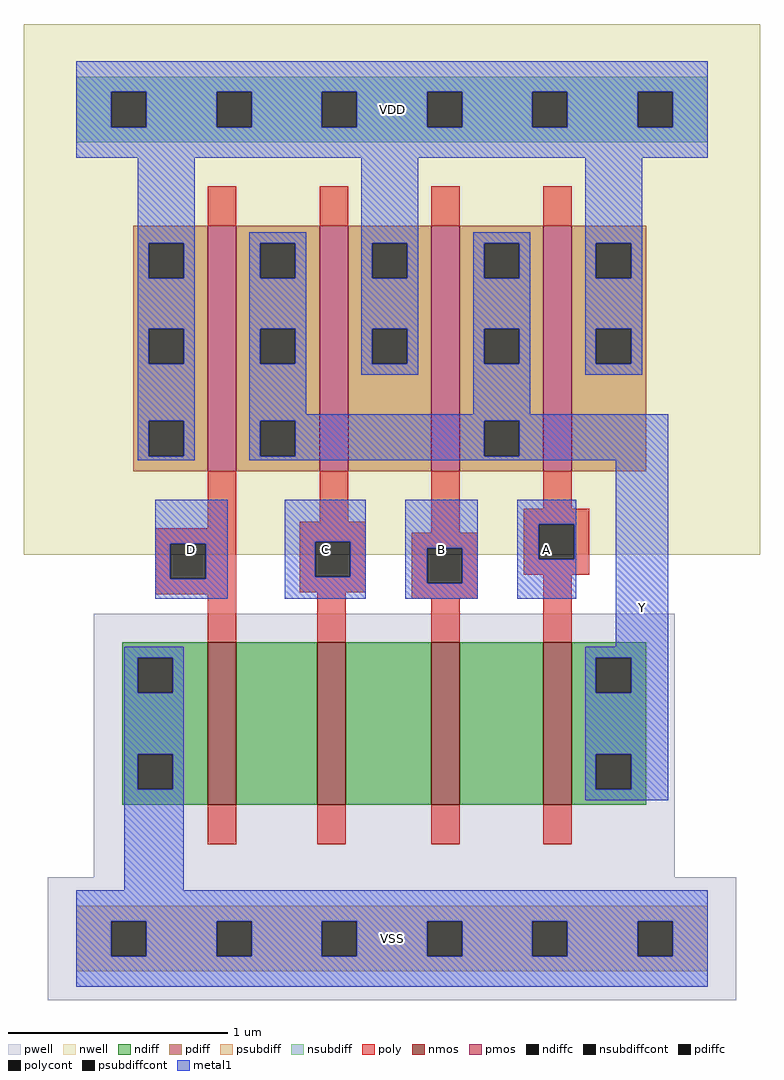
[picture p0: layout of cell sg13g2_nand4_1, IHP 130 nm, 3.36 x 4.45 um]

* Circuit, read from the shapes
.subckt sg13g2_nand4_1 VDD Y B C VSS A D
XM1 n1 D VSS VSS sg13_lv_nmos w=0.74u l=0.13u
XM2 n2 C n1 VSS sg13_lv_nmos w=0.74u l=0.13u
XM3 n3 B n2 VSS sg13_lv_nmos w=0.74u l=0.13u
XM4 Y A n3 VSS sg13_lv_nmos w=0.74u l=0.13u
XM5 Y D VDD VDD sg13_lv_pmos w=1.12u l=0.13u
XM6 VDD C Y VDD sg13_lv_pmos w=1.12u l=0.13u
XM7 Y B VDD VDD sg13_lv_pmos w=1.12u l=0.13u
XM8 VDD A Y VDD sg13_lv_pmos w=1.12u l=0.13u
.ends

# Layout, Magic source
magic
tech ihp-sg13g2
<< nwell >>
rect -24 175 312 417
<< pwell >>
rect 8 28 273 148
rect -13 -28 301 28
<< nmos >>
rect 60 61 73 135
rect 110 61 123 135
rect 162 61 175 135
rect 213 61 226 135
<< pmos >>
rect 60 213 73 325
rect 111 213 124 325
rect 162 213 175 325
rect 213 213 226 325
<< ndiff >>
rect 21 128 60 135
rect 21 112 28 128
rect 44 112 60 128
rect 21 84 60 112
rect 21 68 28 84
rect 44 68 60 84
rect 21 61 60 68
rect 73 61 110 135
rect 123 61 162 135
rect 175 61 213 135
rect 226 128 260 135
rect 226 112 237 128
rect 253 112 260 128
rect 226 84 260 112
rect 226 68 237 84
rect 253 68 260 84
rect 226 61 260 68
<< pdiff >>
rect 26 317 60 325
rect 26 301 33 317
rect 49 301 60 317
rect 26 278 60 301
rect 26 262 33 278
rect 49 262 60 278
rect 26 236 60 262
rect 26 220 33 236
rect 49 220 60 236
rect 26 213 60 220
rect 73 317 111 325
rect 73 301 84 317
rect 100 301 111 317
rect 73 278 111 301
rect 73 262 84 278
rect 100 262 111 278
rect 73 236 111 262
rect 73 220 84 236
rect 100 220 111 236
rect 73 213 111 220
rect 124 317 162 325
rect 124 301 135 317
rect 151 301 162 317
rect 124 278 162 301
rect 124 262 135 278
rect 151 262 162 278
rect 124 213 162 262
rect 175 317 213 325
rect 175 301 186 317
rect 202 301 213 317
rect 175 278 213 301
rect 175 262 186 278
rect 202 262 213 278
rect 175 236 213 262
rect 175 220 186 236
rect 202 220 213 236
rect 175 213 213 220
rect 226 317 260 325
rect 226 301 237 317
rect 253 301 260 317
rect 226 278 260 301
rect 226 262 237 278
rect 253 262 260 278
rect 226 213 260 262
<< ndiffc >>
rect 28 112 44 128
rect 28 68 44 84
rect 237 112 253 128
rect 237 68 253 84
<< pdiffc >>
rect 33 301 49 317
rect 33 262 49 278
rect 33 220 49 236
rect 84 301 100 317
rect 84 262 100 278
rect 84 220 100 236
rect 135 301 151 317
rect 135 262 151 278
rect 186 301 202 317
rect 186 262 202 278
rect 186 220 202 236
rect 237 301 253 317
rect 237 262 253 278
<< psubdiff >>
rect 0 8 288 15
rect 0 -8 16 8
rect 32 -8 64 8
rect 80 -8 112 8
rect 128 -8 160 8
rect 176 -8 208 8
rect 224 -8 256 8
rect 272 -8 288 8
rect 0 -15 288 -8
<< nsubdiff >>
rect 0 386 288 393
rect 0 370 16 386
rect 32 370 64 386
rect 80 370 112 386
rect 128 370 160 386
rect 176 370 208 386
rect 224 370 256 386
rect 272 370 288 386
rect 0 363 288 370
<< psubdiffcont >>
rect 16 -8 32 8
rect 64 -8 80 8
rect 112 -8 128 8
rect 160 -8 176 8
rect 208 -8 224 8
rect 256 -8 272 8
<< nsubdiffcont >>
rect 16 370 32 386
rect 64 370 80 386
rect 112 370 128 386
rect 160 370 176 386
rect 208 370 224 386
rect 256 370 272 386
<< poly >>
rect 60 325 73 343
rect 111 325 124 343
rect 162 325 175 343
rect 213 325 226 343
rect 60 187 73 213
rect 111 190 124 213
rect 36 180 73 187
rect 36 164 43 180
rect 59 164 73 180
rect 36 157 73 164
rect 102 181 132 190
rect 162 185 175 213
rect 213 196 226 213
rect 204 189 234 196
rect 102 165 109 181
rect 125 165 132 181
rect 102 158 132 165
rect 153 178 183 185
rect 153 162 160 178
rect 176 162 183 178
rect 204 173 211 189
rect 227 173 234 189
rect 204 166 234 173
rect 60 135 73 157
rect 110 135 123 158
rect 153 155 183 162
rect 162 135 175 155
rect 213 135 226 166
rect 60 43 73 61
rect 110 43 123 61
rect 162 43 175 61
rect 213 43 226 61
<< polycont >>
rect 43 164 59 180
rect 109 165 125 181
rect 160 162 176 178
rect 211 173 227 189
<< metal1 >>
rect 0 386 288 400
rect 0 370 16 386
rect 32 370 64 386
rect 80 370 112 386
rect 128 370 160 386
rect 176 370 208 386
rect 224 370 256 386
rect 272 370 288 386
rect 0 356 288 370
rect 28 317 54 356
rect 28 301 33 317
rect 49 301 54 317
rect 28 278 54 301
rect 28 262 33 278
rect 49 262 54 278
rect 28 236 54 262
rect 28 220 33 236
rect 49 220 54 236
rect 28 218 54 220
rect 79 317 105 322
rect 79 301 84 317
rect 100 301 105 317
rect 79 278 105 301
rect 79 262 84 278
rect 100 262 105 278
rect 79 239 105 262
rect 130 317 156 356
rect 130 301 135 317
rect 151 301 156 317
rect 130 278 156 301
rect 130 262 135 278
rect 151 262 156 278
rect 130 257 156 262
rect 181 317 207 322
rect 181 301 186 317
rect 202 301 207 317
rect 181 278 207 301
rect 181 262 186 278
rect 202 262 207 278
rect 181 239 207 262
rect 232 317 258 356
rect 232 301 237 317
rect 253 301 258 317
rect 232 278 258 301
rect 232 262 237 278
rect 253 262 258 278
rect 232 257 258 262
rect 79 236 270 239
rect 79 220 84 236
rect 100 220 186 236
rect 202 220 270 236
rect 79 218 270 220
rect 36 180 69 200
rect 36 164 43 180
rect 59 164 69 180
rect 36 155 69 164
rect 95 181 132 200
rect 95 165 109 181
rect 125 165 132 181
rect 95 155 132 165
rect 150 178 183 200
rect 150 162 160 178
rect 176 162 183 178
rect 150 155 183 162
rect 201 189 228 200
rect 201 173 211 189
rect 227 173 228 189
rect 201 155 228 173
rect 246 133 270 218
rect 22 128 49 133
rect 22 112 28 128
rect 44 112 49 128
rect 22 84 49 112
rect 22 68 28 84
rect 44 68 49 84
rect 22 22 49 68
rect 232 128 270 133
rect 232 112 237 128
rect 253 112 270 128
rect 232 84 270 112
rect 232 68 237 84
rect 253 68 270 84
rect 232 63 270 68
rect 0 8 288 22
rect 0 -8 16 8
rect 32 -8 64 8
rect 80 -8 112 8
rect 128 -8 160 8
rect 176 -8 208 8
rect 224 -8 256 8
rect 272 -8 288 8
rect 0 -22 288 -8
<< labels >>
flabel metal1 s 0 356 288 400 0 FreeSans 200 0 0 0 VDD
port 2 nsew
flabel metal1 s 246 63 270 239 0 FreeSans 200 0 0 0 Y
port 3 nsew
flabel metal1 s 150 155 183 200 0 FreeSans 200 0 0 0 B
port 4 nsew
flabel metal1 s 95 155 132 200 0 FreeSans 200 0 0 0 C
port 5 nsew
flabel metal1 s 0 -22 288 22 0 FreeSans 200 0 0 0 VSS
port 6 nsew
flabel metal1 s 201 155 228 200 0 FreeSans 200 0 0 0 A
port 7 nsew
flabel metal1 s 36 155 69 200 0 FreeSans 250 0 0 0 D
port 8 nsew
<< properties >>
string FIXED_BBOX 0 0 288 378
string GDS_END 191660
string GDS_FILE ../gds/controller.gds
string GDS_START 186986
<< end >>
